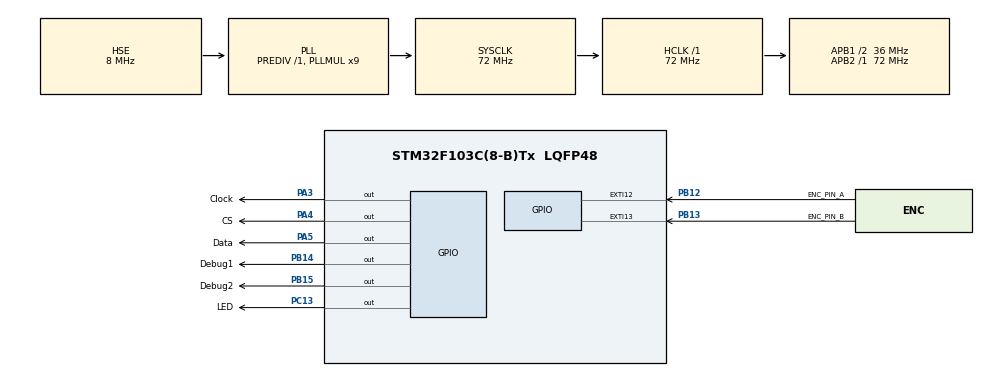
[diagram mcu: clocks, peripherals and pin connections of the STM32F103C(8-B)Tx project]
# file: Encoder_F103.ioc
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Mcu.Family=STM32F1
Mcu.Name=STM32F103C(8-B)Tx
Mcu.Package=LQFP48
NVIC.EXTI15_10_IRQn=true\:0\:0\:false\:false\:true\:true\:true
NVIC.PriorityGroup=NVIC_PRIORITYGROUP_4
NVIC.TIM4_IRQn=true\:0\:0\:false\:false\:true\:true\:true
PA13.Mode=Serial_Wire
PA13.Signal=SYS_JTMS-SWDIO
PA14.Mode=Serial_Wire
PA14.Signal=SYS_JTCK-SWCLK
PA3.GPIO_Label=Clock
PA3.Signal=GPIO_Output
PA4.GPIO_Label=CS
PA4.Signal=GPIO_Output
PA5.GPIO_Label=Data
PA5.Signal=GPIO_Output
PB12.GPIO_Label=ENC_PIN_A
PB12.GPIO_ModeDefaultEXTI=GPIO_MODE_IT_RISING_FALLING
PB12.GPIO_PuPd=GPIO_NOPULL
PB12.Signal=GPXTI12
PB13.GPIO_Label=ENC_PIN_B
PB13.GPIO_ModeDefaultEXTI=GPIO_MODE_IT_RISING_FALLING
PB13.GPIO_PuPd=GPIO_NOPULL
PB13.Signal=GPXTI13
PB14.GPIO_Label=Debug1
PB14.GPIO_PuPd=GPIO_NOPULL
PB14.GPIO_Speed=GPIO_SPEED_FREQ_HIGH
PB14.Signal=GPIO_Output
PB15.GPIO_Label=Debug2
PB15.GPIO_Speed=GPIO_SPEED_FREQ_HIGH
PB15.Signal=GPIO_Output
PC13-TAMPER-RTC.GPIO_Label=LED
PC13-TAMPER-RTC.Signal=GPIO_Output
PD0-OSC_IN.Mode=HSE-External-Oscillator
PD0-OSC_IN.Signal=RCC_OSC_IN
PD1-OSC_OUT.Mode=HSE-External-Oscillator
PD1-OSC_OUT.Signal=RCC_OSC_OUT
ProjectManager.HeapSize=0x200
ProjectManager.StackSize=0x400
ProjectManager.TargetToolchain=STM32CubeIDE
RCC.AHBFreq_Value=72000000
RCC.APB1CLKDivider=RCC_HCLK_DIV2
RCC.APB1Freq_Value=36000000
RCC.APB1TimFreq_Value=72000000
RCC.APB2Freq_Value=72000000
RCC.APB2TimFreq_Value=72000000
RCC.HCLKFreq_Value=72000000
RCC.PLLMUL=RCC_PLL_MUL9
RCC.PLLSourceVirtual=RCC_PLLSOURCE_HSE
RCC.SYSCLKFreq_VALUE=72000000
RCC.SYSCLKSource=RCC_SYSCLKSOURCE_PLLCLK
RCC.USBFreq_Value=72000000
TIM4.AutoReloadPreload=TIM_AUTORELOAD_PRELOAD_DISABLE
TIM4.CounterMode=TIM_COUNTERMODE_DOWN
TIM4.Period=4000
TIM4.Prescaler=36-1
VP_TIM4_VS_ClockSourceINT.Mode=Internal
VP_TIM4_VS_OPM.Mode=OPM_bit
board=custom

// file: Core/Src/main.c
/* USER CODE BEGIN Header */
/**
 ******************************************************************************
 * @file           : main.c
 * @brief          : Main program body
 ******************************************************************************
 * @attention
 *
 * <h2><center>&copy; Copyright (c) 2021 STMicroelectronics.
 * All rights reserved.</center></h2>
 *
 * This software component is licensed by ST under BSD 3-Clause license,
 * the "License"; You may not use this file except in compliance with the
 * License. You may obtain a copy of the License at:
 *                        opensource.org/licenses/BSD-3-Clause
 *
 ******************************************************************************
 */
/* USER CODE END Header */
#include "main.h"

/* USER CODE BEGIN Includes */
#include "math.h"
/* USER CODE END Includes */

TIM_HandleTypeDef htim4;

void SystemClock_Config(void);
static void MX_GPIO_Init(void);
static void MX_TIM4_Init(void);

/* USER CODE BEGIN 0 */

int display_value = -123;
int8_t encoder_state = 0;

void update_encoder_state()
{
	uint8_t pin_a = HAL_GPIO_ReadPin(ENC_PIN_A_GPIO_Port, ENC_PIN_A_Pin);
	uint8_t pin_b = HAL_GPIO_ReadPin(ENC_PIN_B_GPIO_Port, ENC_PIN_B_Pin);

	if (pin_a && !pin_b && !encoder_state)
	{
		encoder_state = 1;
	}
	else if (!pin_a && pin_b && !encoder_state)
	{
		encoder_state = -1;
	}
}

void HAL_GPIO_EXTI_Callback(uint16_t GPIO_Pin)
{
//	update_encoder_state();
//	HAL_TIM_Base_Start_IT(&htim4);
//	GPIO_PinState button_state = HAL_GPIO_ReadPin(ENC_PIN_A_GPIO_Port, ENC_PIN_A_Pin);

//	HAL_GPIO_WritePin(LED_GPIO_Port, LED_Pin, button_state);

	HAL_GPIO_WritePin(LED_GPIO_Port, LED_Pin, GPIO_PIN_SET);

	HAL_TIM_Base_Stop_IT(&htim4);
	TIM4->CNT = 800;

	HAL_GPIO_WritePin(Debug2_GPIO_Port, Debug2_Pin, GPIO_PIN_SET);
	HAL_TIM_Base_Start_IT(&htim4);

	HAL_NVIC_DisableIRQ(EXTI15_10_IRQn);

	HAL_GPIO_WritePin(LED_GPIO_Port, LED_Pin, GPIO_PIN_RESET);
}

void HAL_TIM_PeriodElapsedCallback(TIM_HandleTypeDef *htim)
{
	if (htim == &htim4)
	{
//		update_encoder_state();

		HAL_GPIO_WritePin(Debug2_GPIO_Port, Debug2_Pin, GPIO_PIN_RESET);
		HAL_TIM_Base_Stop_IT(&htim4);

//		NVIC_ClearPendingIRQ(EXTI15_10_IRQn);
		HAL_NVIC_ClearPendingIRQ(EXTI15_10_IRQn);
		HAL_NVIC_EnableIRQ(EXTI15_10_IRQn);
	}
}

// Pin 3
#define CLOCK_PIN GPIO_PIN_3
// Pin 4
#define CS_PIN GPIO_PIN_4
// Pin 5
#define DATA_PIN GPIO_PIN_5

// No-decode mode data bits and corresponding segment lines for standard 7-segment LED
#define SEG_DOT 0x80
#define SEG_A 0x40
#define SEG_B 0x20
#define SEG_C 0x10
#define SEG_D 0x08
#define SEG_E 0x04
#define SEG_F 0x02
#define SEG_G 0x01
#define SEG_BLANK 0x0

// Segment display data
#define CHAR_0 (SEG_A|SEG_B|SEG_C|SEG_D|SEG_E|SEG_F)
#define CHAR_1 (SEG_B|SEG_C)
#define CHAR_2 (SEG_A|SEG_B|SEG_D|SEG_E|SEG_G)
#define CHAR_3 (SEG_A|SEG_B|SEG_C|SEG_D|SEG_G)
#define CHAR_4 (SEG_B|SEG_C|SEG_F|SEG_G)
#define CHAR_5 (SEG_A|SEG_C|SEG_D|SEG_F|SEG_G)
#define CHAR_6 (SEG_A|SEG_D|SEG_C|SEG_E|SEG_F|SEG_G)
#define CHAR_7 (SEG_A|SEG_B|SEG_C)
#define CHAR_8 (SEG_A|SEG_B|SEG_C|SEG_D|SEG_E|SEG_F|SEG_G)
#define CHAR_9 (SEG_A|SEG_B|SEG_C|SEG_D|SEG_G|SEG_F)
#define CHAR_SPACE (SEG_BLANK)
#define CHAR_H (SEG_B|SEG_C|SEG_E|SEG_F|SEG_G)
#define CHAR_E (SEG_A|SEG_D|SEG_E|SEG_F|SEG_G)
#define CHAR_L (SEG_D|SEG_E|SEG_F)
#define CHAR_O (SEG_A|SEG_B|SEG_C|SEG_D|SEG_E|SEG_F)
#define CHAR_EXCLAMATION_MARK (SEG_B|SEG_C|SEG_DOT)
#define CHAR_MINUS (SEG_G)
#define CHAR_UNDERSCORE (SEG_D)

void cs_disable()
{
	HAL_GPIO_WritePin(GPIOA, CS_PIN, GPIO_PIN_SET);
	// HAL_Delay(10);
}

void cs_enable()
{
	HAL_GPIO_WritePin(GPIOA, CS_PIN, GPIO_PIN_RESET);
}

void clock_high()
{
	HAL_GPIO_WritePin(GPIOA, CLOCK_PIN, GPIO_PIN_SET);
}

void clock_low()
{
	HAL_GPIO_WritePin(GPIOA, CLOCK_PIN, GPIO_PIN_RESET);
}

void send_word(uint16_t word)
{
	uint16_t mask = 1 << 15;

	// HAL_Delay(1);

	for (int i = 0; i < 16; i++)
	{
		uint16_t bit = word & mask;
		mask >>= 1;

		clock_low();

		HAL_GPIO_WritePin(GPIOA, DATA_PIN, bit ? GPIO_PIN_SET : GPIO_PIN_RESET);

		clock_high();
	}

	clock_low();
	// HAL_Delay(1);
	HAL_GPIO_WritePin(GPIOA, DATA_PIN, GPIO_PIN_RESET);
}

void send_command(uint16_t command)
{
	cs_enable();
	send_word(command);
	cs_disable();
}

void set_no_decode_mode()
{
	send_command(0x0900);
}

void switch_on()
{
	send_command(0x0B0F); // Set scan limit to display all 8 segments
	set_no_decode_mode();
	send_command(0x0C01); // Switch to normal operation mode
}

void switch_off()
{
	send_command(0x0C00); // Switch to shutdown mode
}

void brightness(uint8_t level)
{
	send_command(0x0A00 + level);
}

void test_on()
{
	send_command(0x0F01);
}

void test_off()
{
	send_command(0x0F00); // Switch to shutdown mode
}

void send_character(uint8_t position, uint8_t character)
{
	uint16_t address = (position + 1) << 8;
	send_command(address | character);
}

// Data is 8-byte array
void fill(uint8_t data[])
{
	for (uint16_t i = 0; i < 8; i++)
	{
		// Swap the segments positioned from right to left on the PCB
		send_character(7 - i, data[i]);
	}
}

void clear()
{
	for (int i = 0; i < 8; i++)
	{
		send_character(i, 0);
	}
}

// Duration is set in ms
void internal_test(uint32_t display_duration)
{
	test_on();
	HAL_Delay(display_duration);
	test_off();
}

void display_custom_test_data()
{
	uint8_t data[] =
	{ CHAR_0 | SEG_DOT, CHAR_1, CHAR_2, CHAR_3, CHAR_4, CHAR_5,
	CHAR_6, CHAR_7 };
	//uint8_t data[] = {CHAR_0, CHAR_0, CHAR_0, CHAR_0, CHAR_0, CHAR_0, CHAR_8, CHAR_9};
	fill(data);
}

// Duration is set in ms
void custom_test(uint32_t display_duration)
{
	display_custom_test_data();
	HAL_Delay(display_duration);
	clear();
}

void display_hello()
{
	uint8_t data[] =
	{ CHAR_H, CHAR_E, CHAR_L, CHAR_L, CHAR_O, CHAR_SPACE,
	CHAR_SPACE, CHAR_SPACE };
	fill(data);
}

void convert_int_to_8_digits(int number, uint8_t *buffer)
{
	const uint8_t size = 8;
	const uint8_t arithmetic_base = 10;

	int abs_number = abs(number);

	for (uint8_t i = 0; i < size; i++)
	{
		uint8_t digit = abs_number % arithmetic_base;
		abs_number /= arithmetic_base;

		buffer[size - 1 - i] = digit;
	}
}

uint8_t convert_digit_to_symbol(uint8_t digit)
{
	const uint8_t arithmetic_base = 10;
	const uint8_t symbols[] =
	{ CHAR_0, CHAR_1, CHAR_2, CHAR_3, CHAR_4, CHAR_5,
	CHAR_6, CHAR_7, CHAR_8, CHAR_9 };

	uint8_t symbol = CHAR_UNDERSCORE; // For digits greater than 9

	if (digit < arithmetic_base)
	{
		symbol = symbols[digit];
	}

	return symbol;
}

void convert_8_digits_to_symbols(uint8_t *digits_buffer, uint8_t *symbol_buffer)
{
	for (uint8_t i = 0; i < 8; i++)
	{
		symbol_buffer[i] = convert_digit_to_symbol(digits_buffer[i]);
	}
}

void specify_sign(int number, uint8_t *symbol_buffer, int size)
{
	uint8_t *first_space;

	for (uint8_t i = 0; i < size - 1; i++)
	{
		first_space = symbol_buffer + i;

		if (first_space[1] != CHAR_SPACE)
		{
			break;
		}
	}

	if (number < 0)
	{
		*first_space = CHAR_MINUS;
	}
}

void convert_int_to_8_symbols(int n, uint8_t *symbol_buffer)
{
	uint8_t digits_buffer[8];

	convert_int_to_8_digits(n, digits_buffer);

	convert_8_digits_to_symbols(digits_buffer, symbol_buffer);

	clear_leading_zeroes(symbol_buffer, 8);

	specify_sign(n, symbol_buffer, 8);
}

void clear_leading_zeroes(uint8_t *symbol_buffer, int size)
{
	for (int i = 0; i < size - 1; i++)
	{
		if (symbol_buffer[i] == CHAR_0)
		{
			symbol_buffer[i] = CHAR_SPACE;
		}
		else
		{
			break;
		}
	}
}

void display_int(int n)
{
	uint8_t symbol_buffer[8];

	convert_int_to_8_symbols(n, symbol_buffer);

	fill(symbol_buffer);
}

/* USER CODE END 0 */

int main(void)
{

  /* MCU Configuration--------------------------------------------------------*/

  /* Reset of all peripherals, Initializes the Flash interface and the Systick. */
  HAL_Init();

  /* Configure the system clock */
  SystemClock_Config();

  /* Initialize all configured peripherals */
  MX_GPIO_Init();
  MX_TIM4_Init();

  /* Infinite loop */
  /* USER CODE BEGIN WHILE */

/*	internal_test(500);
	clear();

	brightness(0);
	switch_on();

	custom_test(500);
	clear();
	HAL_Delay(500);

	display_hello();
	HAL_Delay(500);
	clear();*/

//  HAL_TIMEx_OnePulseN_Start_IT(&htim4);
//  HAL_TIM_Base_Start_IT(&htim4);

	while (1)
	{
//	  HAL_Delay(delay);
//	  HAL_GPIO_TogglePin(LED_GPIO_Port, LED_Pin);

//	  display_int(display_value);
//	  HAL_Delay(500);

    /* USER CODE END WHILE */

	}
}

void SystemClock_Config(void)
{
  RCC_OscInitTypeDef RCC_OscInitStruct = {0};
  RCC_ClkInitTypeDef RCC_ClkInitStruct = {0};

  /** Initializes the RCC Oscillators according to the specified parameters
  * in the RCC_OscInitTypeDef structure.
  */
  RCC_OscInitStruct.OscillatorType = RCC_OSCILLATORTYPE_HSE;
  RCC_OscInitStruct.HSEState = RCC_HSE_ON;
  RCC_OscInitStruct.HSEPredivValue = RCC_HSE_PREDIV_DIV1;
  RCC_OscInitStruct.HSIState = RCC_HSI_ON;
  RCC_OscInitStruct.PLL.PLLState = RCC_PLL_ON;
  RCC_OscInitStruct.PLL.PLLSource = RCC_PLLSOURCE_HSE;
  RCC_OscInitStruct.PLL.PLLMUL = RCC_PLL_MUL9;
  if (HAL_RCC_OscConfig(&RCC_OscInitStruct) != HAL_OK)
  {
    Error_Handler();
  }
  /** Initializes the CPU, AHB and APB buses clocks
  */
  RCC_ClkInitStruct.ClockType = RCC_CLOCKTYPE_HCLK|RCC_CLOCKTYPE_SYSCLK
                              |RCC_CLOCKTYPE_PCLK1|RCC_CLOCKTYPE_PCLK2;
  RCC_ClkInitStruct.SYSCLKSource = RCC_SYSCLKSOURCE_PLLCLK;
  RCC_ClkInitStruct.AHBCLKDivider = RCC_SYSCLK_DIV1;
  RCC_ClkInitStruct.APB1CLKDivider = RCC_HCLK_DIV2;
  RCC_ClkInitStruct.APB2CLKDivider = RCC_HCLK_DIV1;

  if (HAL_RCC_ClockConfig(&RCC_ClkInitStruct, FLASH_LATENCY_2) != HAL_OK)
  {
    Error_Handler();
  }
}

static void MX_TIM4_Init(void)
{

  TIM_ClockConfigTypeDef sClockSourceConfig = {0};
  TIM_MasterConfigTypeDef sMasterConfig = {0};

  htim4.Instance = TIM4;
  htim4.Init.Prescaler = 36-1;
  htim4.Init.CounterMode = TIM_COUNTERMODE_DOWN;
  htim4.Init.Period = 4000;
  htim4.Init.ClockDivision = TIM_CLOCKDIVISION_DIV1;
  htim4.Init.AutoReloadPreload = TIM_AUTORELOAD_PRELOAD_DISABLE;
  if (HAL_TIM_Base_Init(&htim4) != HAL_OK)
  {
    Error_Handler();
  }
  sClockSourceConfig.ClockSource = TIM_CLOCKSOURCE_INTERNAL;
  if (HAL_TIM_ConfigClockSource(&htim4, &sClockSourceConfig) != HAL_OK)
  {
    Error_Handler();
  }
  if (HAL_TIM_OnePulse_Init(&htim4, TIM_OPMODE_SINGLE) != HAL_OK)
  {
    Error_Handler();
  }
  sMasterConfig.MasterOutputTrigger = TIM_TRGO_RESET;
  sMasterConfig.MasterSlaveMode = TIM_MASTERSLAVEMODE_DISABLE;
  if (HAL_TIMEx_MasterConfigSynchronization(&htim4, &sMasterConfig) != HAL_OK)
  {
    Error_Handler();
  }

}

static void MX_GPIO_Init(void)
{
  GPIO_InitTypeDef GPIO_InitStruct = {0};

  /* GPIO Ports Clock Enable */
  __HAL_RCC_GPIOC_CLK_ENABLE();
  __HAL_RCC_GPIOD_CLK_ENABLE();
  __HAL_RCC_GPIOA_CLK_ENABLE();
  __HAL_RCC_GPIOB_CLK_ENABLE();

  /*Configure GPIO pin Output Level */
  HAL_GPIO_WritePin(LED_GPIO_Port, LED_Pin, GPIO_PIN_RESET);

  /*Configure GPIO pin Output Level */
  HAL_GPIO_WritePin(GPIOA, Clock_Pin|CS_Pin|Data_Pin, GPIO_PIN_RESET);

  /*Configure GPIO pin Output Level */
  HAL_GPIO_WritePin(GPIOB, Debug1_Pin|Debug2_Pin, GPIO_PIN_RESET);

  /*Configure GPIO pin : LED_Pin */
  GPIO_InitStruct.Pin = LED_Pin;
  GPIO_InitStruct.Mode = GPIO_MODE_OUTPUT_PP;
  GPIO_InitStruct.Pull = GPIO_NOPULL;
  GPIO_InitStruct.Speed = GPIO_SPEED_FREQ_LOW;
  HAL_GPIO_Init(LED_GPIO_Port, &GPIO_InitStruct);

  /*Configure GPIO pins : Clock_Pin CS_Pin Data_Pin */
  GPIO_InitStruct.Pin = Clock_Pin|CS_Pin|Data_Pin;
  GPIO_InitStruct.Mode = GPIO_MODE_OUTPUT_PP;
  GPIO_InitStruct.Pull = GPIO_NOPULL;
  GPIO_InitStruct.Speed = GPIO_SPEED_FREQ_LOW;
  HAL_GPIO_Init(GPIOA, &GPIO_InitStruct);

  /*Configure GPIO pins : ENC_PIN_A_Pin ENC_PIN_B_Pin */
  GPIO_InitStruct.Pin = ENC_PIN_A_Pin|ENC_PIN_B_Pin;
  GPIO_InitStruct.Mode = GPIO_MODE_IT_RISING_FALLING;
  GPIO_InitStruct.Pull = GPIO_NOPULL;
  HAL_GPIO_Init(GPIOB, &GPIO_InitStruct);

  /*Configure GPIO pins : Debug1_Pin Debug2_Pin */
  GPIO_InitStruct.Pin = Debug1_Pin|Debug2_Pin;
  GPIO_InitStruct.Mode = GPIO_MODE_OUTPUT_PP;
  GPIO_InitStruct.Pull = GPIO_NOPULL;
  GPIO_InitStruct.Speed = GPIO_SPEED_FREQ_HIGH;
  HAL_GPIO_Init(GPIOB, &GPIO_InitStruct);

  /* EXTI interrupt init*/
  HAL_NVIC_SetPriority(EXTI15_10_IRQn, 0, 0);
  HAL_NVIC_EnableIRQ(EXTI15_10_IRQn);

}

void Error_Handler(void)
{
	__disable_irq();
	while (1)
	{
	}
}

/************************ (C) COPYRIGHT STMicroelectronics *****END OF FILE****/
